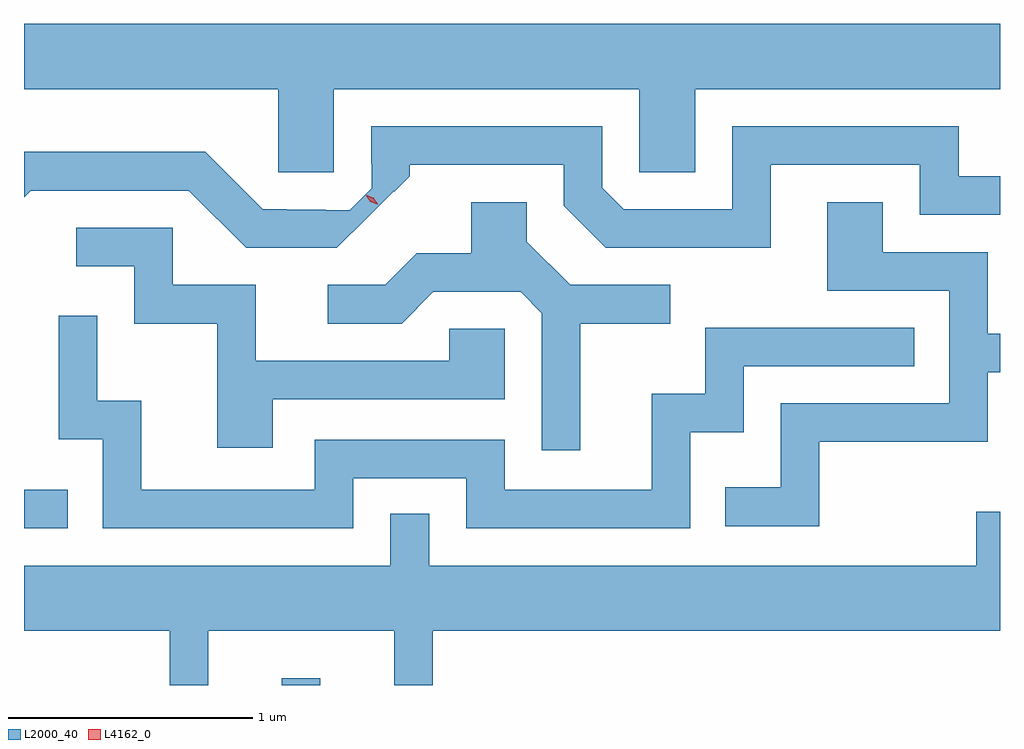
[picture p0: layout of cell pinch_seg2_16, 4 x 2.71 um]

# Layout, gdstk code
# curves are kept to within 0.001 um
import gdstk
lib = gdstk.Library(unit=1e-6, precision=1e-09)
def R(c, l, rs):  # rectangles x0, y0, x1, y1
    for r in rs: c.add(gdstk.rectangle(r[:2], r[2:], *l))
def P(c, l, *ps):  # polygons
    for p in ps: c.add(gdstk.Polygon(p, *l))
L2000_40 = (2000, 40)
L4162_0 = (4162, 0)

pinch_seg2_16 = lib.new_cell('pinch_seg2_16')
R(pinch_seg2_16, L2000_40, [(1669.556,1032.554,1669.714,1032.583), (1668.499,1033.196,1668.678,1033.354)])
P(pinch_seg2_16, L2000_40, [(1669.769,1034.996),(1671.021,1034.996),(1671.021,1034.656),(1671.249,1034.656),(1671.249,1034.996),(1672.499,1034.996),(1672.499,1035.264),(1668.499,1035.264),(1668.499,1034.996),(1669.541,1034.996),(1669.541,1034.656),(1669.769,1034.656)],
  [(1669.847,1034.412),(1670.014,1034.578),(1670.016,1034.576),(1670.079,1034.64),(1670.079,1034.686),(1670.711,1034.686),(1670.711,1034.519),(1670.884,1034.346),(1671.559,1034.346),(1671.559,1034.686),(1672.171,1034.686),(1672.171,1034.481),(1672.499,1034.481),(1672.499,1034.639),(1672.329,1034.639),(1672.329,1034.844),(1671.401,1034.844),(1671.401,1034.504),(1670.957,1034.504),(1670.869,1034.592),(1670.869,1034.844),(1669.922,1034.844),(1669.922,1034.69),(1669.925,1034.69),(1669.925,1034.59),(1669.835,1034.5),(1669.735,1034.5),(1669.735,1034.503),(1669.477,1034.504),(1669.242,1034.739),(1668.499,1034.739),(1668.499,1034.553),(1668.527,1034.581),(1669.174,1034.581),(1669.409,1034.346),(1669.781,1034.346)],
  [(1671.759,1033.551),(1672.449,1033.551),(1672.449,1033.836),(1672.499,1033.836),(1672.499,1033.994),(1672.449,1033.994),(1672.449,1034.329),(1672.019,1034.329),(1672.019,1034.534),(1671.791,1034.534),(1671.791,1034.171),(1672.291,1034.171),(1672.291,1033.709),(1671.601,1033.709),(1671.601,1033.364),(1671.373,1033.364),(1671.373,1033.206),(1671.759,1033.206)],
  [(1670.779,1034.036),(1671.148,1034.036),(1671.148,1034.194),(1670.737,1034.194),(1670.559,1034.372),(1670.559,1034.534),(1670.331,1034.534),(1670.331,1034.324),(1670.109,1034.324),(1669.979,1034.194),(1669.743,1034.194),(1669.743,1034.036),(1670.047,1034.036),(1670.177,1034.166),(1670.534,1034.166),(1670.621,1034.079),(1670.621,1033.517),(1670.779,1033.517)],
  [(1669.519,1033.726),(1670.469,1033.726),(1670.469,1034.014),(1670.241,1034.014),(1670.241,1033.884),(1669.449,1033.884),(1669.449,1034.194),(1669.109,1034.194),(1669.109,1034.429),(1668.713,1034.429),(1668.713,1034.271),(1668.951,1034.271),(1668.951,1034.036),(1669.291,1034.036),(1669.291,1033.526),(1669.519,1033.526)],
  [(1669.849,1033.401),(1670.311,1033.401),(1670.311,1033.196),(1671.229,1033.196),(1671.229,1033.591),(1671.449,1033.591),(1671.449,1033.861),(1672.148,1033.861),(1672.148,1034.019),(1671.291,1034.019),(1671.291,1033.749),(1671.071,1033.749),(1671.071,1033.354),(1670.469,1033.354),(1670.469,1033.559),(1669.691,1033.559),(1669.691,1033.354),(1668.979,1033.354),(1668.979,1033.719),(1668.799,1033.719),(1668.799,1034.068),(1668.641,1034.068),(1668.641,1033.561),(1668.821,1033.561),(1668.821,1033.196),(1669.849,1033.196)],
  [(1669.254,1032.776),(1670.016,1032.776),(1670.016,1032.554),(1670.174,1032.554),(1670.174,1032.776),(1672.499,1032.776),(1672.499,1033.264),(1672.401,1033.264),(1672.401,1033.044),(1670.159,1033.044),(1670.159,1033.257),(1670.001,1033.257),(1670.001,1033.044),(1668.499,1033.044),(1668.499,1032.776),(1669.096,1032.776),(1669.096,1032.554),(1669.254,1032.554)])
P(pinch_seg2_16, L4162_0, [(1669.939,1034.532),(1669.919,1034.537),(1669.912,1034.555),(1669.912,1034.556),(1669.912,1034.556),(1669.932,1034.552),(1669.939,1034.533),(1669.939,1034.532)],
  [(1669.947,1034.525),(1669.919,1034.535),(1669.902,1034.56),(1669.902,1034.561),(1669.903,1034.561),(1669.931,1034.551),(1669.948,1034.526),(1669.948,1034.525)])

lib.write_gds('pinch_seg2_16.gds')
